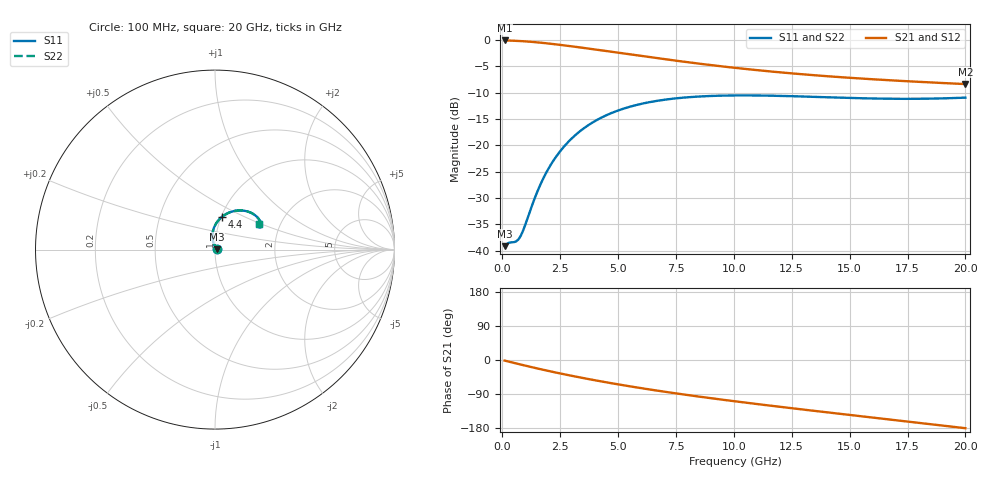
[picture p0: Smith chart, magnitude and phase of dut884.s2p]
! Touchstone file exported from HFSS 2024.1.0
!  File:  C:/UserFiles/LocalFiles/RDL_TSV_Batchsim/temp_RDL_TSV_884_1779930456.aedt
!  Generated:  09:24:43 AM May 28, 2026
!  Design:  RDL_TSV
!  Project:  temp_RDL_TSV_884_1779930456
!  Setup:  Setup1
!  Solution:  Sweep
! Variables:
!  dtsv = 5.75um
!  hbump = 3um
!  htsv = 93um
!  ldown = 256.71um
!  lrdl = 398.54um
!  p = 40
!  p1 = 55.63um
!  rhole = 10um
!  subl = 2364.29um
!  t = 450um
!  tdown = 4.42um
!  trdl = 3.48um
!  viad = 10um
!  wdown = 29.92um
!  wrdl = 25.74um
!  xbump = 18um
# GHz S MA R 50.000000
! Terminal data exported
! Port[1] = TM1_1_T1
! Port[2] = TM1_4_T1
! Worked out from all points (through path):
!   200 points, 100 MHz to 20 GHz, reference 50 ohm
!   highest |S21| = -0.10 dB at 100 MHz (marker M1); lowest = -8.4 dB at 20 GHz (marker M2)
!   group delay of S21, straight-line fit = 23.6 ps
!   lowest |S11| = -39.2 dB at 100 MHz (marker M3), VSWR 1.02, Z = 51.1 + j0.198 ohm
!   |S11| at or under -10 dB: start of sweep to end of sweep
!   |S22| runs from -39.2 to -10.5 dB; largest |S21 - S12| = 8e-15
!   S11 on the Smith chart (normalised r, x): 100 MHz: 1.02, +0.00; 4.4 GHz: 1.01, +0.39; 20 GHz: 1.56, +0.48
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0.1  0.01103 10.1  0.9888 -1.6  0.9888 -1.6  0.01103 10.1
! Gamma 0 0 0 0
! Port Impedance 50 0 50 0
0.3  0.0119 23.7  0.9863 -4.6  0.9863 -4.6  0.0119 23.7
0.6  0.01224 47.4  0.9806 -9.1  0.9806 -9.1  0.01223 47.4
0.7  0.0128 57.4  0.9781 -10.6  0.9781 -10.6  0.01279 57.5
0.9  0.01553 76.7  0.9724 -13.5  0.9724 -13.5  0.01554 76.7
1.3  0.02744 98.1  0.9578 -19.3  0.9578 -19.3  0.02746 98.1
1.6  0.04024 102.9  0.9446 -23.5  0.9446 -23.5  0.04026 103.0
2  0.06029 103.1  0.9249 -29.0  0.9249 -29.0  0.06033 103.2
2.3  0.07665 101.2  0.9089 -32.9  0.9089 -32.9  0.0767 101.2
2.7  0.09924 97.2  0.8867 -38.0  0.8867 -38.0  0.09931 97.3
3.1  0.1219 92.7  0.864 -43.0  0.864 -43.0  0.1219 92.7
3.5  0.1438 87.9  0.841 -47.7  0.841 -47.7  0.1439 87.9
4.4  0.1886 77.4  0.7899 -57.9  0.7899 -57.9  0.1887 77.5
5.5  0.2319 66.0  0.7303 -69.4  0.7303 -69.4  0.232 66.0
6.8  0.2667 54.7  0.6665 -81.8  0.6665 -81.8  0.2668 54.7
8.4  0.2896 43.9  0.5994 -95.8  0.5994 -95.8  0.2896 44.0
10.1  0.2974 35.7  0.542 -109.4  0.542 -109.4  0.2974 35.8
11.7  0.2954 30.5  0.4994 -121.4  0.4994 -121.4  0.2953 30.5
13.4  0.2886 27.3  0.4637 -133.7  0.4637 -133.7  0.2885 27.3
15  0.2815 26.1  0.4372 -145.0  0.4372 -145.0  0.2814 26.2
16.7  0.2766 26.6  0.4146 -156.9  0.4146 -156.9  0.2765 26.7
20  0.2834 30.0  0.3812 -180.0  0.3812 -180.0  0.2834 30.2
